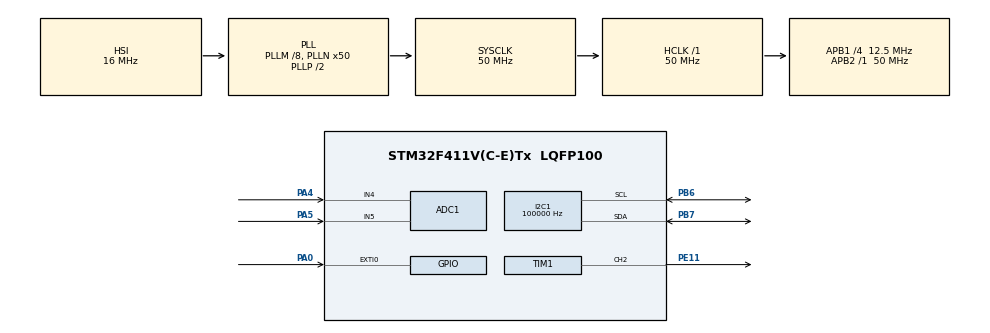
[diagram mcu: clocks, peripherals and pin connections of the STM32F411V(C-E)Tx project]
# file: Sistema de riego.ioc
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ADC1.Channel-0\#ChannelRegularConversion=ADC_CHANNEL_4
ADC1.Channel-1\#ChannelRegularConversion=ADC_CHANNEL_5
ADC1.ContinuousConvMode=ENABLE
ADC1.DMAContinuousRequests=ENABLE
ADC1.NbrOfConversion=2
ADC1.NbrOfConversionFlag=1
ADC1.Rank-0\#ChannelRegularConversion=1
ADC1.Rank-1\#ChannelRegularConversion=2
ADC1.SamplingTime-0\#ChannelRegularConversion=ADC_SAMPLETIME_480CYCLES
ADC1.SamplingTime-1\#ChannelRegularConversion=ADC_SAMPLETIME_480CYCLES
ADC1.master=1
Dma.ADC1.0.Direction=DMA_PERIPH_TO_MEMORY
Dma.ADC1.0.FIFOMode=DMA_FIFOMODE_DISABLE
Dma.ADC1.0.Instance=DMA2_Stream0
Dma.ADC1.0.MemDataAlignment=DMA_MDATAALIGN_HALFWORD
Dma.ADC1.0.MemInc=DMA_MINC_ENABLE
Dma.ADC1.0.Mode=DMA_CIRCULAR
Dma.ADC1.0.PeriphDataAlignment=DMA_PDATAALIGN_HALFWORD
Dma.ADC1.0.PeriphInc=DMA_PINC_DISABLE
Dma.ADC1.0.Priority=DMA_PRIORITY_LOW
Dma.Request0=ADC1
I2C1.ClockSpeed=100000
I2C1.I2C_Mode=I2C_Standard
Mcu.Family=STM32F4
Mcu.Name=STM32F411V(C-E)Tx
Mcu.Package=LQFP100
NVIC.ADC_IRQn=true\:0\:0\:false\:false\:true\:true\:true\:true
NVIC.DMA2_Stream0_IRQn=true\:0\:0\:false\:false\:true\:false\:true\:true
NVIC.EXTI0_IRQn=true\:0\:0\:false\:false\:true\:true\:true\:true
NVIC.PriorityGroup=NVIC_PRIORITYGROUP_0
NVIC.TIM1_CC_IRQn=true\:0\:0\:false\:false\:true\:true\:true\:true
NVIC.TIM2_IRQn=true\:0\:0\:false\:false\:true\:true\:true\:true
PA0-WKUP.Signal=GPXTI0
PA4.Signal=ADCx_IN4
PA5.Signal=ADCx_IN5
PB6.Mode=I2C
PB6.Signal=I2C1_SCL
PB7.Mode=I2C
PB7.Signal=I2C1_SDA
PE11.Signal=S_TIM1_CH2
ProjectManager.HeapSize=0x200
ProjectManager.StackSize=0x400
ProjectManager.TargetToolchain=STM32CubeIDE
RCC.48MHZClocksFreq_Value=12500000
RCC.AHBFreq_Value=50000000
RCC.APB1CLKDivider=RCC_HCLK_DIV4
RCC.APB1Freq_Value=12500000
RCC.APB1TimFreq_Value=25000000
RCC.APB2Freq_Value=50000000
RCC.APB2TimFreq_Value=50000000
RCC.CortexFreq_Value=50000000
RCC.HCLKFreq_Value=50000000
RCC.HSE_VALUE=8000000
RCC.HSI_VALUE=16000000
RCC.LSE_VALUE=32768
RCC.PLLI2SM=5
RCC.PLLI2SN=200
RCC.PLLM=8
RCC.PLLN=50
RCC.PLLQ=8
RCC.SYSCLKFreq_VALUE=50000000
RCC.SYSCLKSource=RCC_SYSCLKSOURCE_PLLCLK
RCC.VCOOutputFreq_Value=100000000
SH.ADCx_IN4.0=ADC1_IN4,IN4
SH.ADCx_IN5.0=ADC1_IN5,IN5
SH.S_TIM1_CH2.0=TIM1_CH2,Output Compare2 CH2
TIM1.Channel-Output\ Compare2\ CH2=TIM_CHANNEL_2
TIM1.OCMode_2=TIM_OCMODE_ACTIVE
TIM1.Period=4999
TIM1.Prescaler=49999
TIM1.Pulse-Output\ Compare2\ CH2=0
TIM2.Period=500
TIM2.Prescaler=49999
VP_TIM1_VS_ClockSourceINT.Mode=Internal
VP_TIM2_VS_ClockSourceINT.Mode=Internal
board=STM32F411E-DISCO

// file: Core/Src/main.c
/* USER CODE BEGIN Header */
/**
  ******************************************************************************
  * @file           : main.c
  * @brief          : Main program body
  ******************************************************************************
  * @attention
  *
  * Copyright (c) 2022 STMicroelectronics.
  * All rights reserved.
  *
  * This software is licensed under terms that can be found in the LICENSE file
  * in the root directory of this software component.
  * If no LICENSE file comes with this software, it is provided AS-IS.
  *
  ******************************************************************************
  */
/* USER CODE END Header */
#include "main.h"

/* USER CODE BEGIN Includes */
#include <string.h>
#include <stdio.h>
/* USER CODE END Includes */

/* USER CODE BEGIN PD */
#define SLAVE_ADDRESS_LCD 0x4E //Dirección LCD
#define LINES 2 //Dimensiones LCD
#define ROWS 16 //Dimensiones LCD
#define NUM_MEDIDAS 10
#define T_DEBOUNCER 500 //Tiempo entre pulsaciones fijado en 0,5s
#define TIEMPO_DESDE_ULTIMA_VEZ 5000
/* USER CODE END PD */

ADC_HandleTypeDef hadc1;
DMA_HandleTypeDef hdma_adc1;

I2C_HandleTypeDef hi2c1;

TIM_HandleTypeDef htim1;
TIM_HandleTypeDef htim2;

void SystemClock_Config(void);
static void MX_GPIO_Init(void);
static void MX_DMA_Init(void);
static void MX_ADC1_Init(void);
static void MX_TIM1_Init(void);
static void MX_I2C1_Init(void);
static void MX_TIM2_Init(void);
/* USER CODE BEGIN PFP */
void lcd_init();
void lcd_send_cmd(char cmd);
void lcd_update(char* str);
void lcd_send_data(char data);
void lcd_send_string(char *str);
void lcd_clear(void);
void strdel(char* cadena);
void info(void);
/* USER CODE END PFP */

/* USER CODE BEGIN 0 */
uint16_t ADC_value[2],ADC_buffer[2];//[0] para sensor nivel y [1] para sensor de tierra
volatile int flag_riego = 0;
volatile int flag_boton = 0;
volatile int flag_agua = 0; //Para cuando el deposito de agua esta vacio
volatile uint32_t media = 0;
volatile uint32_t ultimas_medidas [NUM_MEDIDAS] = {100, 100, 100, 100, 100, 100, 100, 100, 100, 100}; //Evita que se encienda al riego al encender
char texto_pantalla [LINES*ROWS];
int contador_linea=0;
volatile int ultima_pulsacion = 0;
volatile int ultima_vez = 0;
volatile int nint=0;
//Reloj
uint32_t second = 0;
uint32_t minute = 0;
uint32_t hour = 0;
uint32_t count_second;
uint32_t count_minute;
uint32_t count_hour;
//Para introducir la hora al conectar el sistema
int intro_minute = 0;
int intro_hour = 0;
//Para introducir la hora a la que regar cada dia
uint32_t water_minute = 0;
uint32_t water_hour = 100; //Asi si se espera sin pulsar esta hora nunca se da y nunca salta el riego programado
//Comprobaciones de ajustes iniciales
int OK_hour = 0;
int OK_minute = 0;
int counter;
int settings = 0;
char time_h [2]; //Mostrar hora en display
char time_m [2]; //Mostrar minutos en display

void HAL_ADC_ConvCpltCallback (ADC_HandleTypeDef * hadc){
	if (hadc->Instance == ADC1){
		ADC_value[0]=ADC_buffer[0]; // Nivel
		ADC_value[1]=ADC_buffer[1]; // Tierra
	}
}

int detec_lvl(uint16_t valor){ // nivel del deposito
	if ( valor >=4000)
		return 3;//50<x<100%
	else if (valor<4000 && valor>=3500)
		return 2;//<=25<x<50%
	else if(valor<3500 && valor>200)
		return 1;//<=25%
	else
		return 0;//0%
}

int humedad(int medida){ //porcentaje de humedad
float porce=0;
float num=0;
	if(medida<1000)
	{
		return 0;// 0% de humedad
	} else {
		num=(medida-1000);
		porce=((num/(4095-1000))*100);
		return (int)porce;
	}
}

void HAL_GPIO_EXTI_Callback(uint16_t GPIO_Pin){
    if (GPIO_Pin==GPIO_PIN_0 && (HAL_GetTick()-ultima_pulsacion)>T_DEBOUNCER){
    	if (flag_riego == 0){
    		flag_boton = 1; //Si se pulsa el boton cuando no se esta regando
    	} else {
    		flag_riego = 0; //Si se pulsa el boton mientras se esta regando se para de regar
    		HAL_TIM_OC_Stop_IT(&htim1, TIM_CHANNEL_2);
    		ultima_vez = HAL_GetTick();
    	}
    	ultima_pulsacion = HAL_GetTick();
    }
}

void HAL_TIM_OC_DelayElapsedCallback (TIM_HandleTypeDef* htim){
	if (htim->Instance == TIM1){
		if(nint==0)
			nint=1;
		else
		{	nint=0;
			flag_riego = 0;
					HAL_TIM_OC_Stop_IT(&htim1, TIM_CHANNEL_2);
					__HAL_TIM_SET_COUNTER(&htim1, 0);
					ultima_vez = HAL_GetTick();
		}
	}
}

void HAL_TIM_PeriodElapsedCallback(TIM_HandleTypeDef *htim){
	if (htim->Instance == TIM2){
				lcd_update(texto_pantalla);
		__HAL_TIM_SET_COUNTER(&htim2, 0);

		//Guardar las medidas de humedad
		for (int i = 0; i < NUM_MEDIDAS-1; i++)
			ultimas_medidas[i] = ultimas_medidas[i+1];
		ultimas_medidas[NUM_MEDIDAS-1] = humedad(ADC_value[1]);

		//Cacular la media
		uint32_t sumatorio = 0;
		for (int i = 0; i < NUM_MEDIDAS ; i++)
			sumatorio += ultimas_medidas[i];
		media = sumatorio / NUM_MEDIDAS;
	}
}

/* USER CODE END 0 */

int main(void)
{

  /* MCU Configuration--------------------------------------------------------*/

  /* Reset of all peripherals, Initializes the Flash interface and the Systick. */
  HAL_Init();

  /* Configure the system clock */
  SystemClock_Config();

  /* Initialize all configured peripherals */
  MX_GPIO_Init();
  MX_DMA_Init();
  MX_ADC1_Init();
  MX_TIM1_Init();
  MX_I2C1_Init();
  MX_TIM2_Init();
  /* USER CODE BEGIN 2 */
  lcd_init();

  HAL_ADC_Start_DMA(&hadc1, (uint32_t*)ADC_buffer, 2);
  strcpy(texto_pantalla, "Bienvenido al   sistema de riego");
  lcd_update(texto_pantalla);
  uint32_t tiempo= HAL_GetTick();
 while( (HAL_GetTick()-tiempo)<1000)
{
	 strcpy(texto_pantalla, "Bienvenido al   sistema de riego");
  //Para que el mensaje se mantenga en la patanlla 1 segundo
 }
  lcd_clear();
  HAL_TIM_Base_Start_IT(&htim2);

//Para instertar la hora actual
  counter = HAL_GetTick();
    while (!OK_hour){// Set hora
  	  if (flag_boton){//Se incrementa 1 hora cada vez que se pulsa el boton
    		if (intro_hour < 23){
    			intro_hour++;
    		} else {
    			intro_hour = 0; //Vuelta a 0
    		}
    		flag_boton = 0;
    		counter = HAL_GetTick();
    	}
    	if (HAL_GetTick() - counter > 5000){
    		OK_hour = 1; //Si no se pulsa en 5segundos, se da por terminado el cambio de la hora
    	}
      //Mensaje en la pantalla
  	  if (intro_hour >= 10)
  	  	  sprintf(time_h, "%i", intro_hour);
  	  else
  		  sprintf(time_h, "0%i", intro_hour);

    	strcpy (texto_pantalla, "Actual (hora):  ");
    	strcat(texto_pantalla, time_h);
    	strcat(texto_pantalla, ":00           ");
    }
    counter = HAL_GetTick();
    while (!OK_minute){ // Set minutos
    	if (flag_boton){ //Se incrementa 1 minuto cada vez que se pulsa el boton
    		if (intro_minute < 59){
    			intro_minute++;
    		} else {
    			intro_minute = 0;
    		}
    		flag_boton = 0;
    		counter = HAL_GetTick();
    	}
    	if (HAL_GetTick() - counter > 5000){
    		OK_minute = 1; //Si no se pulsa en 5segundos, se da por terminado el cambio de los minutos
    	}
    	//Mensaje en la pantalla
  	  if (intro_minute >= 10)
  	  	  sprintf(time_m, "%i", intro_minute);
  	  else
  		  sprintf(time_m, "0%i", intro_minute);

  	strcpy (texto_pantalla, "Actual (mins):  ");
  	strcat(texto_pantalla, time_h);
  	strcat(texto_pantalla, ":");
  	strcat(texto_pantalla, time_m);
  	strcat(texto_pantalla, "           ");
    }

 //Para insetar la hora a la que se quiere regar o no activar la opcion
    OK_hour = 0;
    OK_minute = 0;
    counter = HAL_GetTick();
    while (!OK_hour){// Set hora de riego
    	if (flag_boton){
    		if (water_hour < 23){
    			water_hour++;
    		} else {
    			water_hour = 0;
    		}
    		flag_boton = 0;
    		counter = HAL_GetTick();
    	}
    	if (HAL_GetTick() - counter > 5000){
    		OK_hour = 1;
    	}
    	//Mensaje en la pantalla
    	if (water_hour == 100)
    		strcpy (texto_pantalla, "Programar riego?SI=pulsa NO=wait");
    	else {
    		if (water_hour >= 10)
    			sprintf(time_h, "%i", water_hour);
    		else
    			sprintf(time_h, "0%i", water_hour);

    		strcpy (texto_pantalla, "Riego (hora):   ");
    		strcat(texto_pantalla, time_h);
    		strcat(texto_pantalla, ":00           ");
    	}
    }
    counter = HAL_GetTick();
    while (!OK_minute){ // Set minuto de riego
    	if (flag_boton){
    		if (water_minute < 59){
    			water_minute++;
    		} else {
    			water_minute = 0;
    		}
    		flag_boton = 0;
    		counter = HAL_GetTick();
    	}
    	if (HAL_GetTick() - counter > 5000){
    		OK_minute = 1;
    	}
    	//Mensaje en la pantalla
    	if (water_hour == 100)
    	  		strcpy (texto_pantalla, "      wait                      ");
    	else {
    	  	if (water_minute >= 10)
    	  		  	  sprintf(time_m, "%i", water_minute);
    	  		  else
    	  			  sprintf(time_m, "0%i", water_minute);

    	  		strcpy (texto_pantalla, "Riego (mins):   ");
    	  		strcat(texto_pantalla, time_h);
    	  		strcat(texto_pantalla, ":");
    	  		strcat(texto_pantalla, time_m);
    	  		strcat(texto_pantalla, "           ");
    	}
    }

    counter = HAL_GetTick();
    settings = 1; //Terminado el setting

  /* USER CODE END 2 */

  /* Infinite loop */
  while (1)
  {

    /* USER CODE BEGIN 3 */
//Conteo de tiempo
	  count_second = ((HAL_GetTick()-counter) * 0.001);
	  count_minute = ((HAL_GetTick()-counter) / 60000);
	  count_hour = ((HAL_GetTick()-counter) / 3600000);
//Hora real
	  second = count_second % 60;
	  minute = (intro_minute + count_minute) % 60;
	  hour = (intro_hour + count_hour + ((intro_minute + count_minute) / 60)) % 24;

	  flag_agua = detec_lvl(ADC_value[0]);

	  char buffer [2];
	  if (media >= 10)
	  	  sprintf(buffer, "%i", media);

	  else
		  sprintf(buffer, "0%i", media);

	  if (!flag_riego && flag_agua != 0){ // si no esta regando y hay agua en el deposito = midiendo
		  strcpy(texto_pantalla, "Midiendo...|SistHumedad:");
	      strcat(texto_pantalla, buffer);
	      if(media!=100)
	      strcat(texto_pantalla, "%");
	      strcat(texto_pantalla, "|STBY");
	     }
	  else if (flag_riego && flag_agua != 0){ //Regando (hay suficiente agua para ello)
	      if ((water_hour == hour) && (water_minute == minute) && (second < 4)) //Ademas regando en hora programada
	    	  strcpy(texto_pantalla, "Hora regar.|SistHumedad:");
	      else
	    	  strcpy(texto_pantalla, "Regando....|SistHumedad:");
	      strcat(texto_pantalla, buffer);
	      strcat(texto_pantalla, "%");
	      strcat(texto_pantalla, "|  ON");
	     }
	  else if (media < 50 && flag_agua == 0){ //Debería estar regando pero no hay agua
	      strcpy(texto_pantalla, "ALERTA| Sin aguaHumedad:");
	      strcat(texto_pantalla, buffer);
	      strcat(texto_pantalla, "%| !!!");
	      }
	  else if (!flag_riego && flag_agua == 0){ //No necesita regar pero si lo necesitara no habría agua
	      strcpy(texto_pantalla, "Midiendo..|AVISOHum:");
	      strcat(texto_pantalla, buffer);
	      strcat(texto_pantalla, "%|SIN AGUA");
	  	  }
	  else
	      strcpy(texto_pantalla, "ERROR");

	  if (((media < 50) || (flag_boton == 1) || ((water_hour == hour) && (water_minute == minute) && (second < 4))) && (flag_riego == 0) && ((HAL_GetTick() - ultima_vez) > TIEMPO_DESDE_ULTIMA_VEZ)){
		  flag_boton = 0;
	  	  if (detec_lvl(ADC_value[0]) > 0){
	  		  HAL_NVIC_DisableIRQ(EXTI0_IRQn); //Deshabilitar las interrupciones
	  		  flag_riego = 1;
	  		  //HAL_GPIO_WritePin(GPIOE, GPIO_PIN_11, 1);
	  		  HAL_TIM_OC_Start_IT(&htim1, TIM_CHANNEL_2);
	  		  HAL_NVIC_EnableIRQ(EXTI0_IRQn); //Volver a habilitar las interrupciones
	  	  }
	  }

	  //Detener el riego si se queda sin agua
	  if ((!flag_agua) && (flag_riego)){
		  flag_riego=0;
		  nint=0;
	  		 HAL_TIM_OC_Stop_IT(&htim1, TIM_CHANNEL_2);
	  		 __HAL_TIM_SET_COUNTER(&htim1, 0);
	  		 ultima_vez = HAL_GetTick();

	  }

  }
  /* USER CODE END 3 */
}

void SystemClock_Config(void)
{
  RCC_OscInitTypeDef RCC_OscInitStruct = {0};
  RCC_ClkInitTypeDef RCC_ClkInitStruct = {0};

  /** Configure the main internal regulator output voltage
  */
  __HAL_RCC_PWR_CLK_ENABLE();
  __HAL_PWR_VOLTAGESCALING_CONFIG(PWR_REGULATOR_VOLTAGE_SCALE1);

  /** Initializes the RCC Oscillators according to the specified parameters
  * in the RCC_OscInitTypeDef structure.
  */
  RCC_OscInitStruct.OscillatorType = RCC_OSCILLATORTYPE_HSI;
  RCC_OscInitStruct.HSIState = RCC_HSI_ON;
  RCC_OscInitStruct.HSICalibrationValue = RCC_HSICALIBRATION_DEFAULT;
  RCC_OscInitStruct.PLL.PLLState = RCC_PLL_ON;
  RCC_OscInitStruct.PLL.PLLSource = RCC_PLLSOURCE_HSI;
  RCC_OscInitStruct.PLL.PLLM = 8;
  RCC_OscInitStruct.PLL.PLLN = 50;
  RCC_OscInitStruct.PLL.PLLP = RCC_PLLP_DIV2;
  RCC_OscInitStruct.PLL.PLLQ = 8;
  if (HAL_RCC_OscConfig(&RCC_OscInitStruct) != HAL_OK)
  {
    Error_Handler();
  }

  /** Initializes the CPU, AHB and APB buses clocks
  */
  RCC_ClkInitStruct.ClockType = RCC_CLOCKTYPE_HCLK|RCC_CLOCKTYPE_SYSCLK
                              |RCC_CLOCKTYPE_PCLK1|RCC_CLOCKTYPE_PCLK2;
  RCC_ClkInitStruct.SYSCLKSource = RCC_SYSCLKSOURCE_PLLCLK;
  RCC_ClkInitStruct.AHBCLKDivider = RCC_SYSCLK_DIV1;
  RCC_ClkInitStruct.APB1CLKDivider = RCC_HCLK_DIV4;
  RCC_ClkInitStruct.APB2CLKDivider = RCC_HCLK_DIV1;

  if (HAL_RCC_ClockConfig(&RCC_ClkInitStruct, FLASH_LATENCY_1) != HAL_OK)
  {
    Error_Handler();
  }
}

static void MX_ADC1_Init(void)
{

  ADC_ChannelConfTypeDef sConfig = {0};

  /** Configure the global features of the ADC (Clock, Resolution, Data Alignment and number of conversion)
  */
  hadc1.Instance = ADC1;
  hadc1.Init.ClockPrescaler = ADC_CLOCK_SYNC_PCLK_DIV2;
  hadc1.Init.Resolution = ADC_RESOLUTION_12B;
  hadc1.Init.ScanConvMode = ENABLE;
  hadc1.Init.ContinuousConvMode = ENABLE;
  hadc1.Init.DiscontinuousConvMode = DISABLE;
  hadc1.Init.ExternalTrigConvEdge = ADC_EXTERNALTRIGCONVEDGE_NONE;
  hadc1.Init.ExternalTrigConv = ADC_SOFTWARE_START;
  hadc1.Init.DataAlign = ADC_DATAALIGN_RIGHT;
  hadc1.Init.NbrOfConversion = 2;
  hadc1.Init.DMAContinuousRequests = ENABLE;
  hadc1.Init.EOCSelection = ADC_EOC_SINGLE_CONV;
  if (HAL_ADC_Init(&hadc1) != HAL_OK)
  {
    Error_Handler();
  }

  /** Configure for the selected ADC regular channel its corresponding rank in the sequencer and its sample time.
  */
  sConfig.Channel = ADC_CHANNEL_4;
  sConfig.Rank = 1;
  sConfig.SamplingTime = ADC_SAMPLETIME_480CYCLES;
  if (HAL_ADC_ConfigChannel(&hadc1, &sConfig) != HAL_OK)
  {
    Error_Handler();
  }

  /** Configure for the selected ADC regular channel its corresponding rank in the sequencer and its sample time.
  */
  sConfig.Channel = ADC_CHANNEL_5;
  sConfig.Rank = 2;
  if (HAL_ADC_ConfigChannel(&hadc1, &sConfig) != HAL_OK)
  {
    Error_Handler();
  }

}

static void MX_I2C1_Init(void)
{

  hi2c1.Instance = I2C1;
  hi2c1.Init.ClockSpeed = 100000;
  hi2c1.Init.DutyCycle = I2C_DUTYCYCLE_2;
  hi2c1.Init.OwnAddress1 = 0;
  hi2c1.Init.AddressingMode = I2C_ADDRESSINGMODE_7BIT;
  hi2c1.Init.DualAddressMode = I2C_DUALADDRESS_DISABLE;
  hi2c1.Init.OwnAddress2 = 0;
  hi2c1.Init.GeneralCallMode = I2C_GENERALCALL_DISABLE;
  hi2c1.Init.NoStretchMode = I2C_NOSTRETCH_DISABLE;
  if (HAL_I2C_Init(&hi2c1) != HAL_OK)
  {
    Error_Handler();
  }

}

static void MX_TIM1_Init(void)
{

  TIM_ClockConfigTypeDef sClockSourceConfig = {0};
  TIM_MasterConfigTypeDef sMasterConfig = {0};
  TIM_OC_InitTypeDef sConfigOC = {0};
  TIM_BreakDeadTimeConfigTypeDef sBreakDeadTimeConfig = {0};

  htim1.Instance = TIM1;
  htim1.Init.Prescaler = 49999;
  htim1.Init.CounterMode = TIM_COUNTERMODE_UP;
  htim1.Init.Period = 4999;
  htim1.Init.ClockDivision = TIM_CLOCKDIVISION_DIV1;
  htim1.Init.RepetitionCounter = 0;
  htim1.Init.AutoReloadPreload = TIM_AUTORELOAD_PRELOAD_DISABLE;
  if (HAL_TIM_Base_Init(&htim1) != HAL_OK)
  {
    Error_Handler();
  }
  sClockSourceConfig.ClockSource = TIM_CLOCKSOURCE_INTERNAL;
  if (HAL_TIM_ConfigClockSource(&htim1, &sClockSourceConfig) != HAL_OK)
  {
    Error_Handler();
  }
  if (HAL_TIM_OC_Init(&htim1) != HAL_OK)
  {
    Error_Handler();
  }
  sMasterConfig.MasterOutputTrigger = TIM_TRGO_RESET;
  sMasterConfig.MasterSlaveMode = TIM_MASTERSLAVEMODE_DISABLE;
  if (HAL_TIMEx_MasterConfigSynchronization(&htim1, &sMasterConfig) != HAL_OK)
  {
    Error_Handler();
  }
  sConfigOC.OCMode = TIM_OCMODE_ACTIVE;
  sConfigOC.Pulse = 0;
  sConfigOC.OCPolarity = TIM_OCPOLARITY_HIGH;
  sConfigOC.OCNPolarity = TIM_OCNPOLARITY_HIGH;
  sConfigOC.OCFastMode = TIM_OCFAST_DISABLE;
  sConfigOC.OCIdleState = TIM_OCIDLESTATE_RESET;
  sConfigOC.OCNIdleState = TIM_OCNIDLESTATE_RESET;
  if (HAL_TIM_OC_ConfigChannel(&htim1, &sConfigOC, TIM_CHANNEL_2) != HAL_OK)
  {
    Error_Handler();
  }
  sBreakDeadTimeConfig.OffStateRunMode = TIM_OSSR_DISABLE;
  sBreakDeadTimeConfig.OffStateIDLEMode = TIM_OSSI_DISABLE;
  sBreakDeadTimeConfig.LockLevel = TIM_LOCKLEVEL_OFF;
  sBreakDeadTimeConfig.DeadTime = 0;
  sBreakDeadTimeConfig.BreakState = TIM_BREAK_DISABLE;
  sBreakDeadTimeConfig.BreakPolarity = TIM_BREAKPOLARITY_HIGH;
  sBreakDeadTimeConfig.AutomaticOutput = TIM_AUTOMATICOUTPUT_DISABLE;
  if (HAL_TIMEx_ConfigBreakDeadTime(&htim1, &sBreakDeadTimeConfig) != HAL_OK)
  {
    Error_Handler();
  }
  HAL_TIM_MspPostInit(&htim1);

}

static void MX_TIM2_Init(void)
{

  TIM_ClockConfigTypeDef sClockSourceConfig = {0};
  TIM_MasterConfigTypeDef sMasterConfig = {0};

  htim2.Instance = TIM2;
  htim2.Init.Prescaler = 49999;
  htim2.Init.CounterMode = TIM_COUNTERMODE_UP;
  htim2.Init.Period = 500;
  htim2.Init.ClockDivision = TIM_CLOCKDIVISION_DIV1;
  htim2.Init.AutoReloadPreload = TIM_AUTORELOAD_PRELOAD_DISABLE;
  if (HAL_TIM_Base_Init(&htim2) != HAL_OK)
  {
    Error_Handler();
  }
  sClockSourceConfig.ClockSource = TIM_CLOCKSOURCE_INTERNAL;
  if (HAL_TIM_ConfigClockSource(&htim2, &sClockSourceConfig) != HAL_OK)
  {
    Error_Handler();
  }
  sMasterConfig.MasterOutputTrigger = TIM_TRGO_RESET;
  sMasterConfig.MasterSlaveMode = TIM_MASTERSLAVEMODE_DISABLE;
  if (HAL_TIMEx_MasterConfigSynchronization(&htim2, &sMasterConfig) != HAL_OK)
  {
    Error_Handler();
  }

}

static void MX_DMA_Init(void)
{

  /* DMA controller clock enable */
  __HAL_RCC_DMA2_CLK_ENABLE();

  /* DMA interrupt init */
  /* DMA2_Stream0_IRQn interrupt configuration */
  HAL_NVIC_SetPriority(DMA2_Stream0_IRQn, 0, 0);
  HAL_NVIC_EnableIRQ(DMA2_Stream0_IRQn);

}

static void MX_GPIO_Init(void)
{
  GPIO_InitTypeDef GPIO_InitStruct = {0};

  /* GPIO Ports Clock Enable */
  __HAL_RCC_GPIOA_CLK_ENABLE();
  __HAL_RCC_GPIOE_CLK_ENABLE();
  __HAL_RCC_GPIOB_CLK_ENABLE();

  /*Configure GPIO pin : PA0 */
  GPIO_InitStruct.Pin = GPIO_PIN_0;
  GPIO_InitStruct.Mode = GPIO_MODE_IT_RISING;
  GPIO_InitStruct.Pull = GPIO_NOPULL;
  HAL_GPIO_Init(GPIOA, &GPIO_InitStruct);

  /* EXTI interrupt init*/
  HAL_NVIC_SetPriority(EXTI0_IRQn, 0, 0);
  HAL_NVIC_EnableIRQ(EXTI0_IRQn);

}

/* USER CODE BEGIN 4 */
void lcd_send_data (char data)
{
	char data_u, data_l;
	uint8_t data_t[4];
	data_u = (data&0xf0);
	data_l = ((data<<4)&0xf0);
	data_t[0] = data_u|0x0D;  //en=1, rs=1
	data_t[1] = data_u|0x09;  //en=0, rs=1
	data_t[2] = data_l|0x0D;  //en=1, rs=1
	data_t[3] = data_l|0x09;  //en=0, rs=1
	HAL_I2C_Master_Transmit (&hi2c1, SLAVE_ADDRESS_LCD,(uint8_t *) data_t, 4, HAL_MAX_DELAY);
}

void lcd_send_cmd (char cmd)
{
  char data_u, data_l;
	uint8_t data_t[4];
	data_u = (cmd&0xf0);
	data_l = ((cmd<<4)&0xf0);
	data_t[0] = data_u|0x0C;  //en=1, rs=0
	data_t[1] = data_u|0x08;  //en=0, rs=0
	data_t[2] = data_l|0x0C;  //en=1, rs=0
	data_t[3] = data_l|0x08;  //en=0, rs=0
	HAL_I2C_Master_Transmit (&hi2c1, SLAVE_ADDRESS_LCD,(uint8_t *) data_t, 4, HAL_MAX_DELAY);
}

void lcd_init (void)
{
	HAL_Delay(45); //Datasheet especifica espera de 40ms
	lcd_send_cmd (0x30); //Encendido del display y del cursor
	HAL_Delay(5); //Datasheet especifica espera de 4.1ms
	lcd_send_cmd (0x30); //El datasheet especifica que se debe repetir el envio de esta instruccion
	HAL_Delay(1); //Datasheet especifica espera de 100us
	lcd_send_cmd(0x30);
	HAL_Delay(1);
	lcd_send_cmd (0x20);  // 4bit mode
	HAL_Delay(1);
	lcd_send_cmd (0x28); // Function set --> DL=0 (4 bit mode), N = 1 (2 line display) F = 0 (5x8 characters)
	HAL_Delay(1);
	lcd_send_cmd (0x08); //Display on/off control --> D=0,C=0, B=0  ---> display off
	HAL_Delay(1);
	lcd_send_cmd (0x01);  //Clear
	HAL_Delay(1);
	lcd_send_cmd (0x06); //Entry mode set --> I/D = 1 (increment cursor) & S = 0 (no shift)
	HAL_Delay(1);
	lcd_send_cmd (0x0C); //Display on/off control --> D = 1, C and B = 0. (Cursor and blink, last two bits)
	HAL_Delay(1);
}

void lcd_send_string (char *str)
{
	//Escribe a continuación de lo que haya
	static int contador_linea = 0; //Static para que no se borre entre ejecuciones de la función
	contador_linea = 0;
	while (*str){
		lcd_send_data (*str++);
		contador_linea = (contador_linea) % (ROWS*LINES); //Contar hasta el número de caracteres máximo
		contador_linea++;
		if (contador_linea == ROWS)
			lcd_send_cmd(0xc0); //Pasa a la segunda línea
		if (contador_linea > ROWS*LINES)
			return; //No hace nada más porque no hay espacio
	}
}

void lcd_update (char *str){

	lcd_clear(); //Borra la pantalla y pone el cursor en la esquina superior izquierda
	//En esta funcion se hacen los saltos de linea necesarios.
	/*
	int contador_lineas = 0;
	contador_lineas = 0;
	while (*str){
		lcd_send_data (*str++);
		contador_lineas = (contador_lineas) % (ROWS*LINES); //Contar hasta el número de caracteres máximo
		contador_lineas++;
		if (contador_lineas == ROWS)
			lcd_send_cmd(0xc0); //Pasa a la segunda línea
		if (contador_lineas > ROWS*LINES)
			return; //No hace nada más porque no hay espacio
	}
	*/
	lcd_send_string(str);

}

void lcd_clear(void){ //Tambien posiciona el cursor en la esquina superior izquierda. SOLO VALE PARA DISPLAY 16x2
	lcd_send_cmd(0x80); //Posiciona en el comienzo
	for (int i=0; i < LINES; i++){ //Recorrer todas las filas
		for (int j=0; j < ROWS; j++) //Recorrer todas las columnas
			lcd_send_data(' '); //Poner espacios (borrar todo)
		lcd_send_cmd(0x0c); //Posicionar en la segunda linea
	}
	lcd_send_cmd(0x80); //Posicionar el cursor en el comienzo de nuevo
}

void strdel(char* cadena){
	for (int i=0; i < LINES*ROWS; i++)
		*cadena++ = ' ';

}

void info(void){
	HAL_NVIC_DisableIRQ(EXTI0_IRQn);
	strdel(texto_pantalla);
	strcpy(texto_pantalla, "Test");
	HAL_NVIC_EnableIRQ(EXTI0_IRQn); //Volver a habilitar las interrupciones
}
/* USER CODE END 4 */

void Error_Handler(void)
{
  __disable_irq();
  while (1)
  {
  }
}
